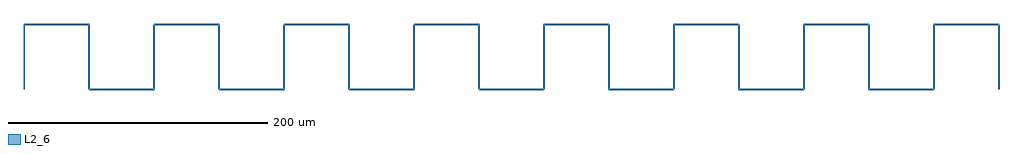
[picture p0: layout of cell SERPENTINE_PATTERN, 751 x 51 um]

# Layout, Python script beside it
import gdspy

# Define the library and cell
lib = gdspy.GdsLibrary()
cell = lib.new_cell('SERPENTINE_PATTERN')

# Parameters for serpentine pattern
path_width = 1.0
turns = 15
segment_length = 50.0
start_point = (0, 0)
layer = 2
datatype = 6

# Create the initial Path object
path = gdspy.Path(path_width, start_point)

# Add segments to the path to create the serpentine pattern
for i in range(turns):
    if i % 2 == 0:
        path.segment(segment_length, '+y', layer=layer, datatype=datatype)
    else:
        path.segment(segment_length, '-y', layer=layer, datatype=datatype)
    path.segment(segment_length, '+x', layer=layer, datatype=datatype)

# Add the final vertical segment to complete the shape
if turns % 2 == 0:
    path.segment(segment_length, '+y', layer=layer, datatype=datatype)
else:
    path.segment(segment_length, '-y', layer=layer, datatype=datatype)

# Add the path into the cell
cell.add(path)

# Write the GDS file
lib.write_gds('serpentine_pattern.gds')

# Optional: to view the layout using gdspy internal viewer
